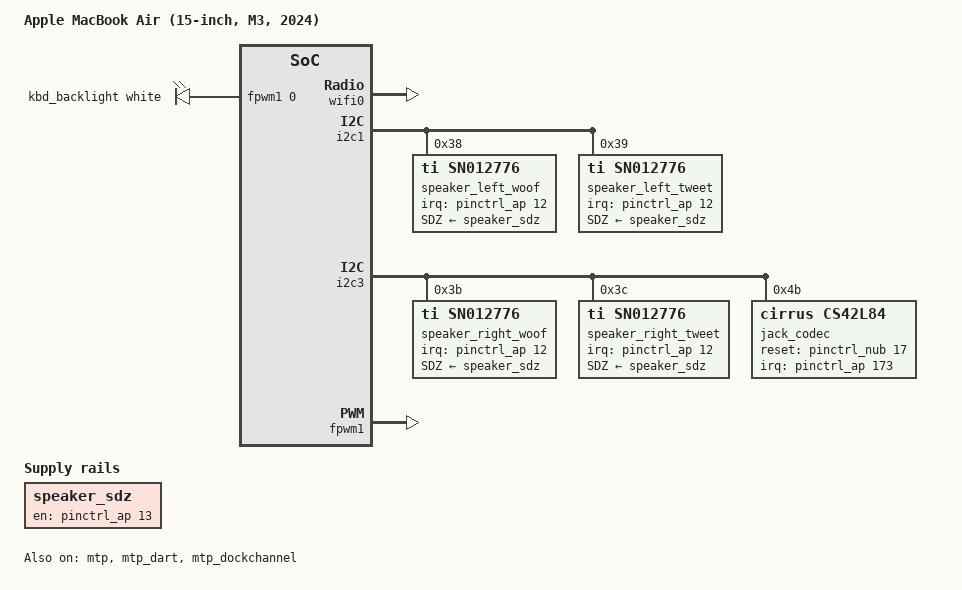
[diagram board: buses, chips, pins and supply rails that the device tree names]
// SPDX-License-Identifier: GPL-2.0+ OR MIT
/*
 * Apple MacBook Air (15-inch, M3, 2024)
 *
 * target-type: J615
 *
 * Copyright The Asahi Linux Contributors
 */

/dts-v1/;

#include "t8122.dtsi"
#include "t8122-jxxx.dtsi"
#include <dt-bindings/leds/common.h>

/ {
	compatible = "apple,j615", "apple,t8122", "apple,arm-platform";
	model = "Apple MacBook Air (15-inch, M3, 2024)";

	led-controller {
		compatible = "pwm-leds";
		led-0 {
			pwms = <&fpwm1 0 40000>;
			label = "kbd_backlight";
			function = LED_FUNCTION_KBD_BACKLIGHT;
			color = <LED_COLOR_ID_WHITE>;
			max-brightness = <255>;
			default-state = "keep";
		};
	};
};

&wifi0 {
	brcm,board-type = "apple,tuzla";
};

&bluetooth0 {
	brcm,board-type = "apple,tuzla";
};

/* Virtual regulator representing the shared shutdown GPIO */
/ {
	speaker_sdz: fixed-regulator-sn012776-sdz {
		compatible = "regulator-fixed";
		regulator-name = "sn012776-sdz";
		startup-delay-us = <5000>;
		gpios = <&pinctrl_ap 13 GPIO_ACTIVE_HIGH>;
		enable-active-high;
	};
};

&i2c1 {
	speaker_left_woof: codec@38 {
		compatible = "ti,sn012776", "ti,tas2764";
		reg = <0x38>;
		SDZ-supply = <&speaker_sdz>;
		#sound-dai-cells = <0>;
		sound-name-prefix = "Left Woofer";
		interrupts-extended = <&pinctrl_ap 12 IRQ_TYPE_LEVEL_LOW>;
		ti,imon-slot-no = <0>;
		ti,vmon-slot-no = <2>;
		ti,sdout-force-zero-mask = <0x0f0f>;
	};

	speaker_left_tweet: codec@39 {
		compatible = "ti,sn012776", "ti,tas2764";
		reg = <0x39>;
		SDZ-supply = <&speaker_sdz>;
		#sound-dai-cells = <0>;
		sound-name-prefix = "Left Tweeter";
		interrupts-extended = <&pinctrl_ap 12 IRQ_TYPE_LEVEL_LOW>;
		ti,imon-slot-no = <8>;
		ti,vmon-slot-no = <10>;
	};
};

&i2c3 {
	speaker_right_woof: codec@3b {
		compatible = "ti,sn012776", "ti,tas2764";
		reg = <0x3b>;
		SDZ-supply = <&speaker_sdz>;
		#sound-dai-cells = <0>;
		sound-name-prefix = "Right Woofer";
		interrupts-extended = <&pinctrl_ap 12 IRQ_TYPE_LEVEL_LOW>;
		ti,imon-slot-no = <4>;
		ti,vmon-slot-no = <6>;
		ti,sdout-force-zero-mask = <0xf0f0>;
	};

	speaker_right_tweet: codec@3c {
		compatible = "ti,sn012776", "ti,tas2764";
		reg = <0x3c>;
		SDZ-supply = <&speaker_sdz>;
		#sound-dai-cells = <0>;
		sound-name-prefix = "Right Tweeter";
		interrupts-extended = <&pinctrl_ap 12 IRQ_TYPE_LEVEL_LOW>;
		ti,imon-slot-no = <12>;
		ti,vmon-slot-no = <14>;
	};

	jack_codec: codec@4b {
		compatible = "cirrus,cs42l84";
		reg = <0x4b>;
		reset-gpios = <&pinctrl_nub 17 GPIO_ACTIVE_HIGH>;
		#sound-dai-cells = <0>;
		interrupts-extended = <&pinctrl_ap 173 IRQ_TYPE_LEVEL_LOW>;
		sound-name-prefix = "Jack";
	};
};

/ {
	sound {
		compatible = "apple,j615-macaudio", "apple,j415-macaudio", "apple,macaudio";
		model = "MacBook Air J615";

		dai-link@0 {
			link-name = "Speakers";

			cpu {
				sound-dai = <&mca 0>, <&mca 1>;
			};
			codec {
				sound-dai = <&speaker_left_woof>, <&speaker_left_tweet>,
					    <&speaker_right_woof>, <&speaker_right_tweet>;
			};
		};

		dai-link@1 {
			link-name = "Headphone Jack";

			cpu {
				sound-dai = <&mca 2>;
			};
			codec {
				sound-dai = <&jack_codec>;
			};
		};
	};
};

&fpwm1 {
	status = "okay";
};

&mtp {
	status = "okay";
};

&mtp_mbox {
	status = "okay";
};

&mtp_dart {
	status = "okay";
};

&mtp_dockchannel {
	status = "okay";
};

&mtp_hid {
	apple,afe-reset-gpios = <&smc_gpio 8 GPIO_ACTIVE_LOW>;
	apple,stm-reset-gpios = <&smc_gpio 24 GPIO_ACTIVE_LOW>;

	multi-touch {
		firmware-name = "apple/tpmtfw-j615.bin";
	};

	keyboard: keyboard {
		hid-country-code = <0>;
		apple,keyboard-layout-id = <0>;
	};

	stm {
	};

	actuator {
	};

	tp_accel {
	};
};

#include "hwmon-laptop.dtsi"
